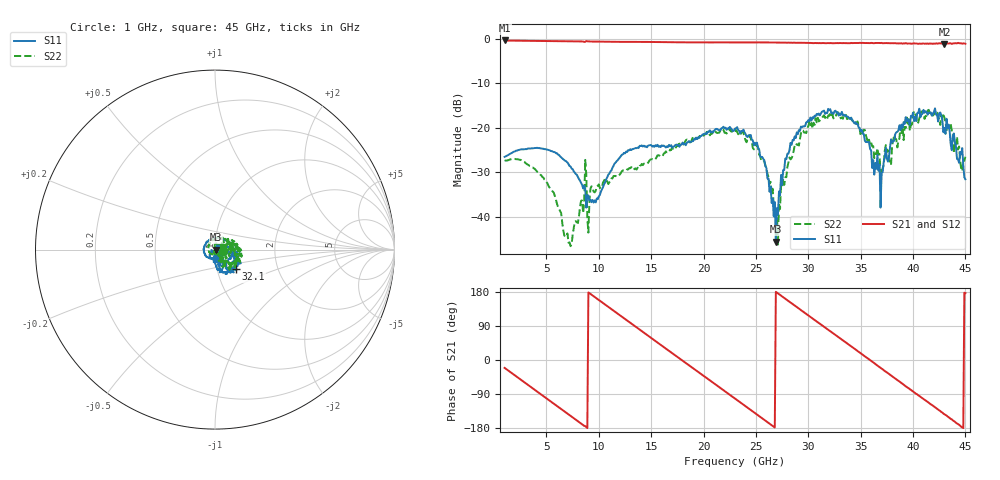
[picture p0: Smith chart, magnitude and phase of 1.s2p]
!Keysight Technologies,N5247B,MY61255062,A.19.80.06
!Date: Monday, May 18, 2026 12:38:04
!Correction: S11(Cdelta 2-Port  )
!S21(Cdelta 2-Port  )
!S12(Cdelta 2-Port  )
!S22(Cdelta 2-Port  )
!S2P File: Measurements: S11, S21, S12, S22:
# Hz S  dB  R 50
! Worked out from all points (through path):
!   441 points, 1 GHz to 45 GHz, reference 50 ohm
!   highest |S21| = -0.40 dB at 1 GHz (marker M1); lowest = -1.2 dB at 43 GHz (marker M2)
!   group delay of S21, straight-line fit = 55.7 ps
!   lowest |S11| = -45.7 dB at 26.9 GHz (marker M3), VSWR 1.01, Z = 50.5 - j0.0353 ohm
!   |S11| at or under -10 dB: start of sweep to end of sweep
!   |S22| runs from -46.6 to -16.0 dB; largest |S21 - S12| = 0.014
!   S11 on the Smith chart (normalised r, x): 1 GHz: 1.10, -0.02; 32.1 GHz: 1.23, -0.28; 45 GHz: 1.05, +0.02
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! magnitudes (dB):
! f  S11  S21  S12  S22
! 1 GHz  -26.6  -0.4  -0.4  -27.3
! 4.7 GHz  -24.7  -0.5  -0.5  -31.2
! 7.2 GHz  -28.6  -0.6  -0.6  -45.8
! 8.4 GHz  -32.9  -0.6  -0.6  -36.4
! 8.6 GHz  -33.0  -0.7  -0.7  -36.6
! 9.1 GHz  -36.4  -0.6  -0.6  -36.4
! 9.7 GHz  -36.8  -0.7  -0.7  -34.2
! 12.2 GHz  -26.1  -0.7  -0.7  -29.8
! 15.7 GHz  -24.3  -0.8  -0.8  -26.2
! 23 GHz  -20.2  -0.9  -0.8  -20.8
! 25.1 GHz  -23.4  -0.8  -0.8  -24.0
! 26 GHz  -29.1  -0.8  -0.8  -29.3
! 26.9 GHz  -45.7  -0.9  -0.9  -39.8
! 28.2 GHz  -25.1  -0.9  -0.9  -26.7
! 30.4 GHz  -17.7  -1.0  -1.0  -20.2
! 32.1 GHz  -15.9  -1.0  -1.0  -16.6
! 34.7 GHz  -19.1  -1.0  -1.0  -18.6
! 36.9 GHz  -38.0  -1.0  -1.0  -30.3
! 37.7 GHz  -26.8  -1.0  -1.0  -27.2
! 40.6 GHz  -15.7  -1.1  -1.1  -17.9
! 43 GHz  -20.0  -1.2  -1.1  -17.7
! 45 GHz  -31.6  -1.1  -1.1  -26.5
